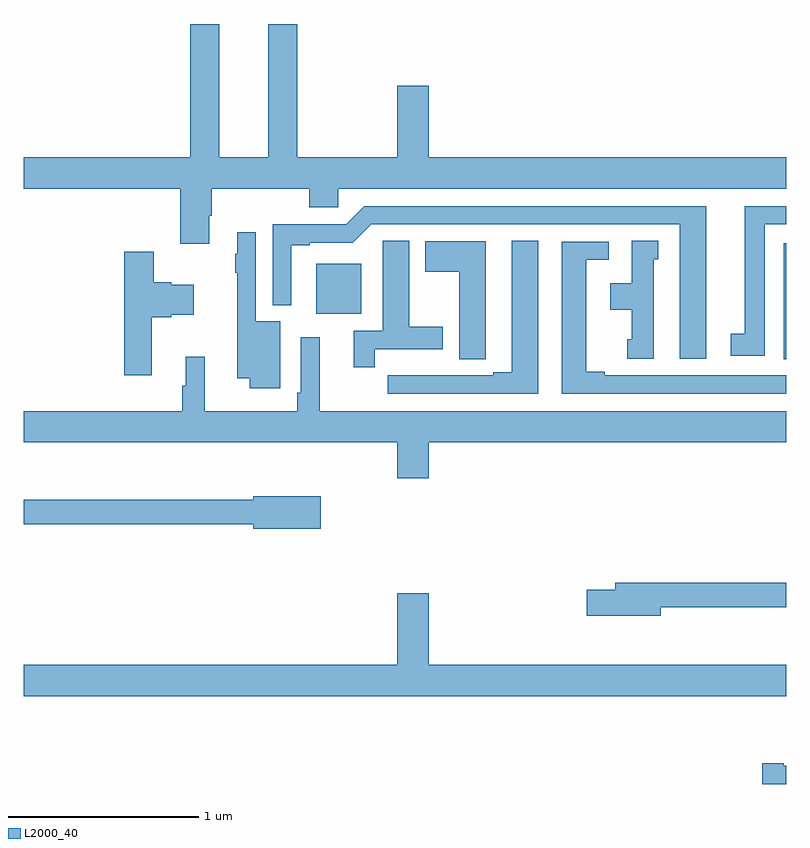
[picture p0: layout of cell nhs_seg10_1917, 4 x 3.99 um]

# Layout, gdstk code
import gdstk
lib = gdstk.Library(unit=1e-6, precision=1e-09)
def R(c, l, rs):  # rectangles x0, y0, x1, y1
    for r in rs: c.add(gdstk.rectangle(r[:2], r[2:], *l))
def P(c, l, *ps):  # polygons
    for p in ps: c.add(gdstk.Polygon(p, *l))
L2000_40 = (2000, 40)

nhs_seg10_1917 = lib.new_cell('nhs_seg10_1917')
R(nhs_seg10_1917, L2000_40, [(214.988,1312.741,215,1313.349), (212.534,1312.979,212.77,1313.242)])
P(nhs_seg10_1917, L2000_40, [(211.972,1313.494),(211.985,1313.494),(211.985,1313.636),(212.498,1313.636),(212.498,1313.538),(212.649,1313.538),(212.649,1313.636),(215,1313.636),(215,1313.8),(213.124,1313.8),(213.124,1314.175),(212.96,1314.175),(212.96,1313.8),(212.435,1313.8),(212.435,1314.5),(212.282,1314.5),(212.282,1313.8),(212.026,1313.8),(212.026,1314.5),(211.874,1314.5),(211.874,1313.8),(211,1313.8),(211,1313.636),(211.82,1313.636),(211.82,1313.346),(211.972,1313.346)],
  [(214.582,1313.544),(212.787,1313.544),(212.691,1313.448),(212.307,1313.448),(212.307,1313.024),(212.404,1313.024),(212.404,1313.34),(212.5,1313.34),(212.5,1313.352),(212.727,1313.352),(212.823,1313.448),(214.442,1313.448),(214.442,1312.743),(214.582,1312.743)],
  [(214.888,1313.448),(215,1313.448),(215,1313.544),(214.784,1313.544),(214.784,1312.874),(214.71,1312.874),(214.71,1312.758),(214.888,1312.758)],
  [(212.344,1312.939),(212.217,1312.939),(212.217,1313.407),(212.12,1313.407),(212.12,1313.294),(212.109,1313.294),(212.109,1313.194),(212.119,1313.194),(212.119,1312.935),(212.12,1312.935),(212.12,1312.64),(212.186,1312.64),(212.186,1312.587),(212.344,1312.587)],
  [(213.7,1313.363),(213.56,1313.363),(213.56,1312.671),(213.464,1312.671),(213.464,1312.656),(213.188,1312.656),(213.188,1312.657),(213.022,1312.657),(213.022,1312.656),(212.91,1312.656),(212.91,1312.56),(213.7,1312.56)],
  [(212.84,1312.794),(213.199,1312.794),(213.199,1312.911),(213.022,1312.911),(213.022,1313.363),(212.883,1313.363),(212.883,1313.252),(212.882,1313.252),(212.882,1312.89),(212.732,1312.89),(212.732,1312.698),(212.84,1312.698)],
  [(214.306,1313.265),(214.33,1313.265),(214.33,1313.363),(214.19,1313.363),(214.19,1313.14),(214.076,1313.14),(214.076,1313),(214.19,1313),(214.19,1312.845),(214.166,1312.845),(214.166,1312.743),(214.306,1312.743)],
  [(213.423,1312.849),(213.424,1312.849),(213.424,1313.359),(213.107,1313.359),(213.107,1313.2),(213.284,1313.2),(213.284,1312.741),(213.423,1312.741)],
  [(215,1312.656),(214.048,1312.656),(214.048,1312.676),(213.952,1312.676),(213.952,1313.262),(214.069,1313.262),(214.069,1313.358),(213.824,1313.358),(213.824,1312.56),(215,1312.56)],
  [(211.672,1312.961),(211.773,1312.961),(211.773,1312.973),(211.891,1312.973),(211.891,1313.131),(211.773,1313.131),(211.773,1313.144),(211.68,1313.144),(211.68,1313.305),(211.526,1313.305),(211.526,1312.656),(211.672,1312.656)],
  [(213.124,1312.304),(215,1312.304),(215,1312.468),(212.552,1312.468),(212.552,1312.855),(212.454,1312.855),(212.454,1312.564),(212.434,1312.564),(212.434,1312.468),(211.95,1312.468),(211.95,1312.753),(211.85,1312.753),(211.85,1312.602),(211.831,1312.602),(211.831,1312.468),(211,1312.468),(211,1312.304),(212.96,1312.304),(212.96,1312.116),(213.124,1312.116)],
  [(212.557,1312.021),(212.204,1312.021),(212.204,1312.003),(211,1312.003),(211,1311.874),(212.204,1311.874),(212.204,1311.851),(212.557,1311.851)],
  [(214.342,1311.438),(215,1311.438),(215,1311.566),(214.103,1311.566),(214.103,1311.53),(213.954,1311.53),(213.954,1311.395),(214.342,1311.395)],
  [(215,1311.136),(213.124,1311.136),(213.124,1311.511),(212.96,1311.511),(212.96,1311.136),(211,1311.136),(211,1310.972),(215,1310.972)],
  [(215,1310.607),(214.987,1310.607),(214.987,1310.62),(214.875,1310.62),(214.875,1310.511),(215,1310.511)])

lib.write_gds('nhs_seg10_1917.gds')
